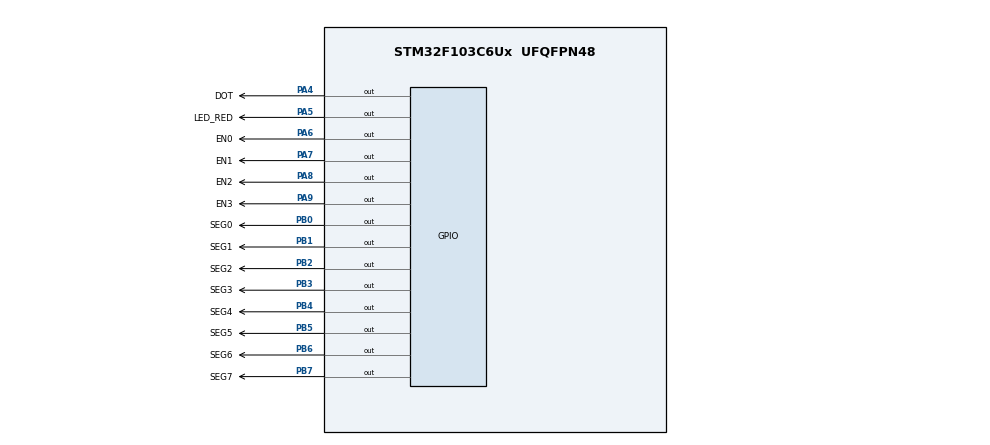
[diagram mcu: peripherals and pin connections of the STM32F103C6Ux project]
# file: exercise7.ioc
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Mcu.Family=STM32F1
Mcu.Name=STM32F103C6Ux
Mcu.Package=UFQFPN48
NVIC.PriorityGroup=NVIC_PRIORITYGROUP_4
NVIC.TIM2_IRQn=true\:0\:0\:false\:false\:true\:true\:true
PA4.GPIO_Label=DOT
PA4.Signal=GPIO_Output
PA5.GPIO_Label=LED_RED
PA5.Signal=GPIO_Output
PA6.GPIO_Label=EN0
PA6.Signal=GPIO_Output
PA7.GPIO_Label=EN1
PA7.Signal=GPIO_Output
PA8.GPIO_Label=EN2
PA8.Signal=GPIO_Output
PA9.GPIO_Label=EN3
PA9.Signal=GPIO_Output
PB0.GPIO_Label=SEG0
PB0.Signal=GPIO_Output
PB1.GPIO_Label=SEG1
PB1.Signal=GPIO_Output
PB2.GPIO_Label=SEG2
PB2.Signal=GPIO_Output
PB3.GPIO_Label=SEG3
PB3.Signal=GPIO_Output
PB4.GPIO_Label=SEG4
PB4.Signal=GPIO_Output
PB5.GPIO_Label=SEG5
PB5.Signal=GPIO_Output
PB6.GPIO_Label=SEG6
PB6.Signal=GPIO_Output
PB7.GPIO_Label=SEG7
PB7.Signal=GPIO_Output
ProjectManager.HeapSize=0x200
ProjectManager.StackSize=0x400
ProjectManager.TargetToolchain=STM32CubeIDE
RCC.APB1Freq_Value=8000000
RCC.APB2Freq_Value=8000000
TIM2.Period=9
TIM2.Prescaler=7999
VP_SYS_VS_ND.Mode=No_Debug
VP_TIM2_VS_ClockSourceINT.Mode=Internal
board=custom

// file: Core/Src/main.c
/* USER CODE BEGIN Header */
/**
  ******************************************************************************
  * @file           : main.c
  * @brief          : Main program body
  ******************************************************************************
  * @attention
  *
  * <h2><center>&copy; Copyright (c) 2022 STMicroelectronics.
  * All rights reserved.</center></h2>
  *
  * This software component is licensed by ST under BSD 3-Clause license,
  * the "License"; You may not use this file except in compliance with the
  * License. You may obtain a copy of the License at:
  *                        opensource.org/licenses/BSD-3-Clause
  *
  ******************************************************************************
  */
/* USER CODE END Header */
#include "main.h"

/* USER CODE BEGIN Includes */
#include "display7SEG.h"
/* USER CODE END Includes */

TIM_HandleTypeDef htim2;

void SystemClock_Config(void);
static void MX_GPIO_Init(void);
static void MX_TIM2_Init(void);

/* USER CODE BEGIN 0 */
int hour = 15 , minute = 8 , second = 58;
void updateClockBuffer();
void update7SEG(int index);
int timer0_counter = 0;
int timer0_flag = 0;
int TIMER_CYCLE = 10;
void setTimer0 ( int duration ) {
	timer0_counter = duration / TIMER_CYCLE ;
	timer0_flag = 0;
}
void timer_run () {
	if( timer0_counter > 0) {
	timer0_counter--;
	if( timer0_counter == 0) timer0_flag = 1;
	}

}
int index_led = 0 ;
int led_buffer[4] = {1,2,3,4};
const int MAX_LED = 4 ;
void update7SEG(int index){
	switch (index) {
		case 0:
			display7SEG(led_buffer[index]);
			HAL_GPIO_WritePin(EN0_GPIO_Port, EN0_Pin, RESET) ;
			HAL_GPIO_WritePin(EN1_GPIO_Port, EN1_Pin, SET) ;
			HAL_GPIO_WritePin(EN2_GPIO_Port, EN2_Pin, SET) ;
			HAL_GPIO_WritePin(EN3_GPIO_Port, EN3_Pin, SET) ;
			break;
		case 1:
			display7SEG(led_buffer[index]);
			HAL_GPIO_WritePin(EN0_GPIO_Port, EN0_Pin, SET) ;
			HAL_GPIO_WritePin(EN1_GPIO_Port, EN1_Pin, RESET) ;
			HAL_GPIO_WritePin(EN2_GPIO_Port, EN2_Pin, SET) ;
			HAL_GPIO_WritePin(EN3_GPIO_Port, EN3_Pin, SET) ;
			break;
		case 2:
			display7SEG(led_buffer[index]);
			HAL_GPIO_WritePin(EN0_GPIO_Port, EN0_Pin, SET) ;
			HAL_GPIO_WritePin(EN1_GPIO_Port, EN1_Pin, SET) ;
			HAL_GPIO_WritePin(EN2_GPIO_Port, EN2_Pin, RESET) ;
			HAL_GPIO_WritePin(EN3_GPIO_Port, EN3_Pin, SET) ;
			break;
		case 3:
			display7SEG(led_buffer[index]);
			HAL_GPIO_WritePin(EN0_GPIO_Port, EN0_Pin, SET) ;
			HAL_GPIO_WritePin(EN1_GPIO_Port, EN1_Pin, SET) ;
			HAL_GPIO_WritePin(EN2_GPIO_Port, EN2_Pin, SET) ;
			HAL_GPIO_WritePin(EN3_GPIO_Port, EN3_Pin, RESET) ;
			break;
		default:
			break;
	}
}

/* USER CODE END 0 */

int main(void)
{

  /* MCU Configuration--------------------------------------------------------*/

  /* Reset of all peripherals, Initializes the Flash interface and the Systick. */
  HAL_Init();

  /* Configure the system clock */
  SystemClock_Config();

  /* Initialize all configured peripherals */
  MX_GPIO_Init();
  MX_TIM2_Init();
  /* USER CODE BEGIN 2 */
  HAL_TIM_Base_Start_IT(&htim2);
  /* USER CODE END 2 */

  /* Infinite loop */
  /* USER CODE BEGIN WHILE */
  setTimer0(1000);
  while (1)
  {
/*	  if(timer0_flag == 1){
		  setTimer0(1000);
		  HAL_GPIO_TogglePin(DOT_GPIO_Port, DOT_Pin) ;
	  }
	  	if(timer1_flag){
	  		setTimer1(500);
	  		HAL_GPIO_TogglePin(LED_RED_GPIO_Port, LED_RED_Pin);
	  		if(index_led >= MAX_LED ) index_led = 0 ;
	  		update7SEG(index_led++);
	  	}
	  	*/
    /* USER CODE END WHILE */
	  if(timer0_flag >= 1){
		  setTimer0(1000);
		  second++;
		  HAL_GPIO_TogglePin(DOT_GPIO_Port, DOT_Pin) ;
	  }
	  if(second >= 60){
	  	second = 0 ;
	  	minute++;
	  }
	  if(minute >= 60){
	  	minute = 0;
	  	hour++;
	  }
	  if(hour >= 24 ){
	  	hour = 0;
	  }
	  updateClockBuffer();

	//  HAL_Delay(1000);

  }
}

void SystemClock_Config(void)
{
  RCC_OscInitTypeDef RCC_OscInitStruct = {0};
  RCC_ClkInitTypeDef RCC_ClkInitStruct = {0};

  /** Initializes the RCC Oscillators according to the specified parameters
  * in the RCC_OscInitTypeDef structure.
  */
  RCC_OscInitStruct.OscillatorType = RCC_OSCILLATORTYPE_HSI;
  RCC_OscInitStruct.HSIState = RCC_HSI_ON;
  RCC_OscInitStruct.HSICalibrationValue = RCC_HSICALIBRATION_DEFAULT;
  RCC_OscInitStruct.PLL.PLLState = RCC_PLL_NONE;
  if (HAL_RCC_OscConfig(&RCC_OscInitStruct) != HAL_OK)
  {
    Error_Handler();
  }
  /** Initializes the CPU, AHB and APB buses clocks
  */
  RCC_ClkInitStruct.ClockType = RCC_CLOCKTYPE_HCLK|RCC_CLOCKTYPE_SYSCLK
                              |RCC_CLOCKTYPE_PCLK1|RCC_CLOCKTYPE_PCLK2;
  RCC_ClkInitStruct.SYSCLKSource = RCC_SYSCLKSOURCE_HSI;
  RCC_ClkInitStruct.AHBCLKDivider = RCC_SYSCLK_DIV1;
  RCC_ClkInitStruct.APB1CLKDivider = RCC_HCLK_DIV1;
  RCC_ClkInitStruct.APB2CLKDivider = RCC_HCLK_DIV1;

  if (HAL_RCC_ClockConfig(&RCC_ClkInitStruct, FLASH_LATENCY_0) != HAL_OK)
  {
    Error_Handler();
  }
}

static void MX_TIM2_Init(void)
{

  TIM_ClockConfigTypeDef sClockSourceConfig = {0};
  TIM_MasterConfigTypeDef sMasterConfig = {0};

  htim2.Instance = TIM2;
  htim2.Init.Prescaler = 7999;
  htim2.Init.CounterMode = TIM_COUNTERMODE_UP;
  htim2.Init.Period = 9;
  htim2.Init.ClockDivision = TIM_CLOCKDIVISION_DIV1;
  htim2.Init.AutoReloadPreload = TIM_AUTORELOAD_PRELOAD_DISABLE;
  if (HAL_TIM_Base_Init(&htim2) != HAL_OK)
  {
    Error_Handler();
  }
  sClockSourceConfig.ClockSource = TIM_CLOCKSOURCE_INTERNAL;
  if (HAL_TIM_ConfigClockSource(&htim2, &sClockSourceConfig) != HAL_OK)
  {
    Error_Handler();
  }
  sMasterConfig.MasterOutputTrigger = TIM_TRGO_RESET;
  sMasterConfig.MasterSlaveMode = TIM_MASTERSLAVEMODE_DISABLE;
  if (HAL_TIMEx_MasterConfigSynchronization(&htim2, &sMasterConfig) != HAL_OK)
  {
    Error_Handler();
  }

}

static void MX_GPIO_Init(void)
{
  GPIO_InitTypeDef GPIO_InitStruct = {0};

  /* GPIO Ports Clock Enable */
  __HAL_RCC_GPIOA_CLK_ENABLE();
  __HAL_RCC_GPIOB_CLK_ENABLE();

  /*Configure GPIO pin Output Level */
  HAL_GPIO_WritePin(GPIOA, DOT_Pin|LED_RED_Pin|EN0_Pin|EN1_Pin
                          |EN2_Pin|EN3_Pin, GPIO_PIN_RESET);

  /*Configure GPIO pin Output Level */
  HAL_GPIO_WritePin(GPIOB, SEG0_Pin|SEG1_Pin|SEG2_Pin|SEG3_Pin
                          |SEG4_Pin|SEG5_Pin|SEG6_Pin, GPIO_PIN_RESET);

  /*Configure GPIO pins : DOT_Pin LED_RED_Pin EN0_Pin EN1_Pin
                           EN2_Pin EN3_Pin */
  GPIO_InitStruct.Pin = DOT_Pin|LED_RED_Pin|EN0_Pin|EN1_Pin
                          |EN2_Pin|EN3_Pin;
  GPIO_InitStruct.Mode = GPIO_MODE_OUTPUT_PP;
  GPIO_InitStruct.Pull = GPIO_NOPULL;
  GPIO_InitStruct.Speed = GPIO_SPEED_FREQ_LOW;
  HAL_GPIO_Init(GPIOA, &GPIO_InitStruct);

  /*Configure GPIO pins : SEG0_Pin SEG1_Pin SEG2_Pin SEG3_Pin
                           SEG4_Pin SEG5_Pin SEG6_Pin */
  GPIO_InitStruct.Pin = SEG0_Pin|SEG1_Pin|SEG2_Pin|SEG3_Pin
                          |SEG4_Pin|SEG5_Pin|SEG6_Pin;
  GPIO_InitStruct.Mode = GPIO_MODE_OUTPUT_PP;
  GPIO_InitStruct.Pull = GPIO_NOPULL;
  GPIO_InitStruct.Speed = GPIO_SPEED_FREQ_LOW;
  HAL_GPIO_Init(GPIOB, &GPIO_InitStruct);

}

/* USER CODE BEGIN 4 */

int counter = 100;
void HAL_TIM_PeriodElapsedCallback ( TIM_HandleTypeDef * htim ){
	timer_run();
	counter--;
	if(counter <= 0){
		counter = 100 ;
		HAL_GPIO_TogglePin(LED_RED_GPIO_Port, LED_RED_Pin);
		if(index_led >= MAX_LED ) index_led = 0 ;
		update7SEG(index_led++);
	}

}
void updateClockBuffer(){
		if(hour >= 10){
			led_buffer[0] = hour / 10 ;
			led_buffer[1] = hour%10 ;
		}else{
			led_buffer[0] = 0;
			led_buffer[1] = hour%10 ;
		}
		if(minute >= 10){
				led_buffer[2] = minute / 10 ;
				led_buffer[3] = minute%10 ;
		}else{
			led_buffer[2] = 0 ;
			led_buffer[3] = minute ;
		}
}
/* USER CODE END 4 */

void Error_Handler(void)
{
  __disable_irq();
  while (1)
  {
  }
}

/************************ (C) COPYRIGHT STMicroelectronics *****END OF FILE****/
